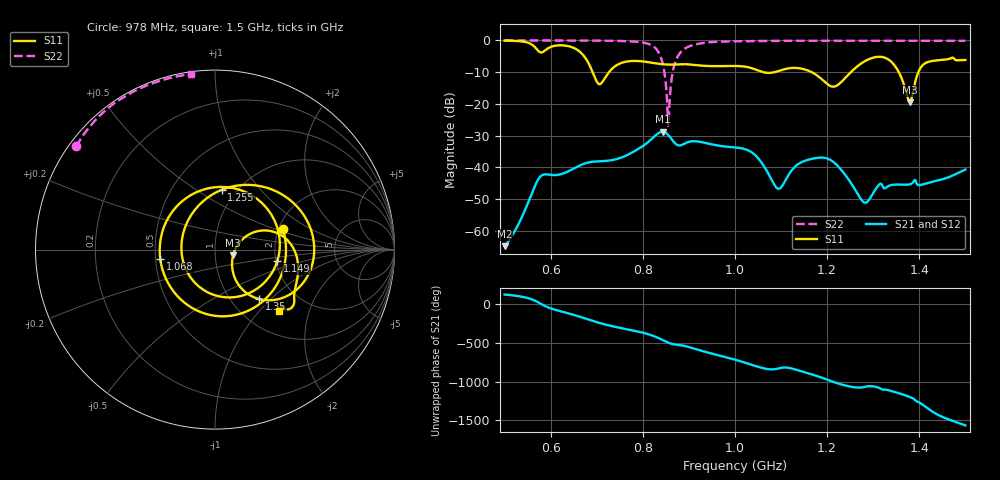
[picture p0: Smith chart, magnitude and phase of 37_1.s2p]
! TOUCHSTONE file generated by CST MICROWAVE STUDIO
! Date and time: Sat Nov 14 20:43:24 2020
! Project name: Scenario_1_Planar_Body_Tissue_Out_of_Line_v2.cst
! Parameters = {dy1=-276.8; L_HA=400; Ltissue=700; MT=2.54; Rad_Dielectric=30; Rad_Lower=7.3; Rad_Upper=30; Wtissue=700; a_HA=580; a_WG=246; b_HA=500; b_WG=121; c_HA=0; c_WG=187; d_feed=85; dx1=173; h_feed=15; h_lower=18; h_upper=40; hfat=3; hgap=25; hmuscle=50; hskin=1.5}
! Header version: 2018
! Port assignment regex: !\s*Touchstone port\s*([0-9]+)\s*=\s*(CST MWS port|CST DS port)\s*([0-9]+|Zmin|Zmax)\s*\(\"(.*)\"\)(\s*mode\s*([0-9]+))?.*
! Touchstone port assignment:
! Touchstone port 1 = CST MWS port 1 ("")
! Touchstone port 2 = CST MWS port 2 ("")
# GHz S DB R 50
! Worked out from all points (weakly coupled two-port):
!   1003 points, 500 MHz to 1.5 GHz, reference 50 ohm
!   highest |S21| = -28.75 dB at 843 MHz (marker M1); lowest = -64.8 dB at 500 MHz (marker M2)
!   lowest |S11| = -19.5 dB at 1.379 GHz (marker M3), VSWR 1.24, Z = 61.1 - j3.97 ohm
!   |S11| at or under -10 dB: 691 MHz to 726.5 MHz (35.45 MHz wide, 5 % of centre); 1.166 GHz to 1.251 GHz (84.9 MHz wide, 7.02 % of centre); 1.356 GHz to 1.398 GHz (42.35 MHz wide, 3.08 % of centre)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
!   |S22| runs from -26.9 to 0.0 dB; largest |S21 - S12| = 4.6e-06
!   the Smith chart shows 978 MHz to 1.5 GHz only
!   S11 on the Smith chart (normalised r, x): 978 MHz: 2.11, +0.58; 1.068 GHz: 0.53, -0.06; 1.149 GHz: 2.03, -0.30; 1.255 GHz: 0.86, +0.64; 1.35 GHz: 1.34, -0.86; 1.5 GHz: 1.43, -1.28
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0.5  -0.06 -121.8  -64.81 122.2  -64.81 122.2  -0.01 151.1
0.624  -1.53 175.8  -42.06 -97.5  -42.06 -97.5  -0.03 142.2
0.667  -4.06 111.4  -39.15 -171.5  -39.15 -171.5  -0.04 138.3
0.693  -10.69 35.2  -38.19 138.4  -38.19 138.4  -0.06 135.6
0.72  -11.33 -103.7  -37.94 93.2  -37.94 93.2  -0.09 132.3
0.765  -6.65 158.7  -36.18 34.4  -36.18 34.4  -0.23 124.2
0.834  -7.34 21.9  -29.19 -79.5  -29.19 -79.5  -3.68 79.9
0.843  -7.49 -1.1  -28.75 -105.2  -28.75 -105.3  -7.22 61.6
0.856  -7.61 -36.6  -29.93 -140.8  -29.93 -140.8  -26.00 -80.8
0.904  -7.60 -178.9  -31.82 157.3  -31.82 157.3  -1.68 164.4
0.978  -8.07 17.0  -33.41 36.9  -33.41 36.9  -0.33 143.3
1  -8.04 -22.3  -33.71 2.2  -33.71 2.2  -0.26 140.0
1.068  -10.19 -169.9  -40.84 -116.2  -40.84 -116.2  -0.16 132.6
1.107  -9.08 83.7  -44.74 -98.4  -44.74 -98.4  -0.12 129.1
1.149  -9.05 -10.4  -38.06 -156.2  -38.06 -156.2  -0.09 125.6
1.167  -10.04 -46.9  -37.29 171.6  -37.29 171.6  -0.09 124.1
1.255  -9.49 83.5  -45.66 9.5  -45.66 9.5  -0.08 117.5
1.334  -6.10 -28.9  -45.79 -33.8  -45.78 -33.8  -0.08 111.4
1.35  -8.64 -48.2  -45.40 -61.0  -45.40 -61.0  -0.09 110.2
1.379  -19.50 -17.6  -45.33 -119.1  -45.33 -119.1  -0.10 108.0
1.411  -7.35 2.8  -45.21 125.5  -45.21 125.5  -0.10 105.5
1.5  -6.16 -43.7  -40.69 -126.5  -40.69 -126.5  -0.13 97.8
